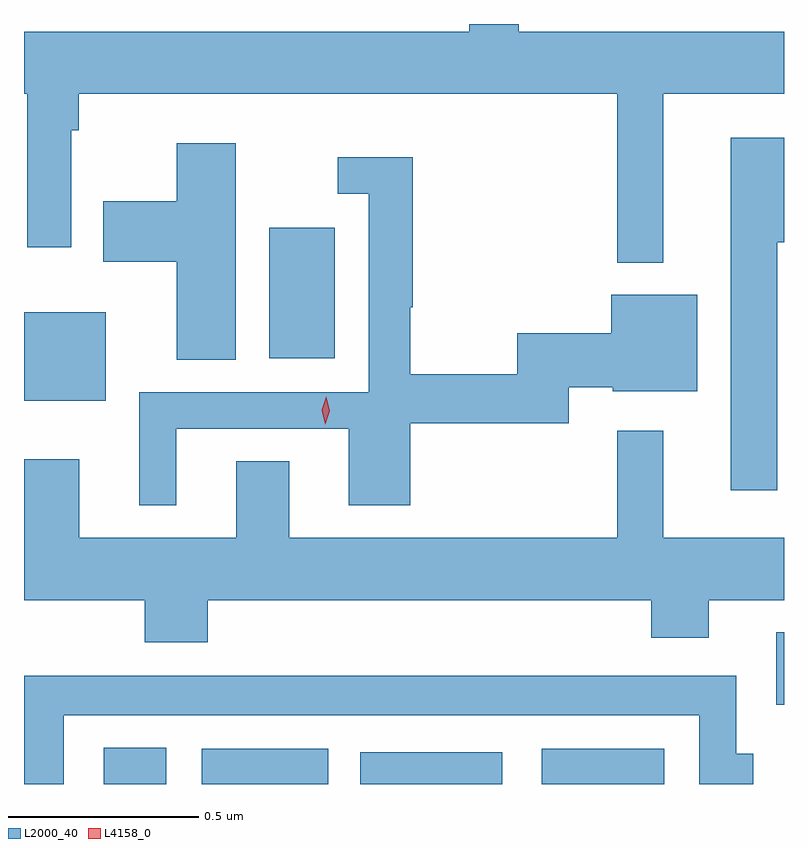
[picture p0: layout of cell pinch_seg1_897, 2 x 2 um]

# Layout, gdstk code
import gdstk
lib = gdstk.Library(unit=1e-6, precision=1e-09)
def R(c, l, rs):  # rectangles x0, y0, x1, y1
    for r in rs: c.add(gdstk.rectangle(r[:2], r[2:], *l))
def P(c, l, *ps):  # polygons
    for p in ps: c.add(gdstk.Polygon(p, *l))
L2000_40 = (2000, 40)
L4158_0 = (4158, 0)

pinch_seg1_897 = lib.new_cell('pinch_seg1_897')
R(pinch_seg1_897, L2000_40, [(501.467,520.612,501.631,520.708), (501.725,520.612,502.057,520.705), (502.142,520.612,502.516,520.696), (502.619,520.612,502.942,520.705), (503.237,520.821,503.257,521.011), (501.257,521.621,501.472,521.854), (501.902,521.732,502.075,522.076)])
P(pinch_seg1_897, L2000_40, [(502.939,522.428),(503.257,522.428),(503.257,522.592),(502.559,522.592),(502.559,522.612),(502.429,522.612),(502.429,522.592),(501.257,522.592),(501.257,522.428),(501.265,522.428),(501.265,522.024),(501.381,522.024),(501.381,522.332),(501.401,522.332),(501.401,522.428),(502.818,522.428),(502.818,521.984),(502.939,521.984)],
  [(503.239,522.038),(503.257,522.038),(503.257,522.313),(503.117,522.313),(503.117,521.385),(503.239,521.385)],
  [(501.814,522.298),(501.659,522.298),(501.659,522.145),(501.466,522.145),(501.466,521.987),(501.659,521.987),(501.659,521.728),(501.814,521.728)],
  [(501.658,521.547),(502.112,521.547),(502.112,521.346),(502.274,521.346),(502.274,521.562),(502.69,521.562),(502.69,521.656),(502.806,521.656),(502.806,521.645),(503.029,521.645),(503.029,521.899),(502.802,521.899),(502.802,521.798),(502.555,521.798),(502.555,521.69),(502.273,521.69),(502.273,521.867),(502.28,521.867),(502.28,522.262),(502.083,522.262),(502.083,522.165),(502.164,522.165),(502.164,521.643),(501.56,521.643),(501.56,521.346),(501.658,521.346)],
  [(502.939,521.542),(502.818,521.542),(502.818,521.26),(501.955,521.26),(501.955,521.462),(501.815,521.462),(501.815,521.26),(501.403,521.26),(501.403,521.467),(501.257,521.467),(501.257,521.096),(501.575,521.096),(501.575,520.985),(501.74,520.985),(501.74,521.096),(502.907,521.096),(502.907,520.997),(503.059,520.997),(503.059,521.096),(503.257,521.096),(503.257,521.26),(502.939,521.26)],
  [(501.361,520.793),(503.034,520.793),(503.034,520.612),(503.176,520.612),(503.176,520.692),(503.131,520.692),(503.131,520.897),(501.257,520.897),(501.257,520.612),(501.361,520.612)])
P(pinch_seg1_897, L4158_0, [(502.05,521.559),(502.05,521.559),(502.041,521.595),(502.053,521.631),(502.053,521.631),(502.053,521.631),(502.061,521.594),(502.05,521.559)])

lib.write_gds('pinch_seg1_897.gds')
